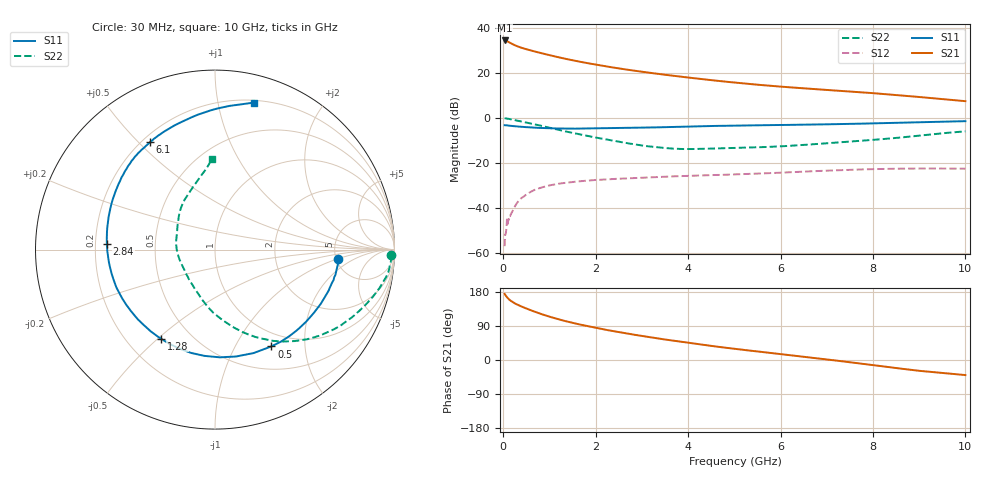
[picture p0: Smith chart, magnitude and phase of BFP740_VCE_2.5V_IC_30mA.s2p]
! Infineon Technologies  Discrete & RF Semiconductors
! BFP740
! VCE =  2.5 V,  IC =  30 mA
! Common Emitter S-Parameters:  Jan 2016
# GHz  S  MA  R  50
!  f  S11  S21  S12  S22
! GHz  MAG  ANG  MAG  ANG  MAG  ANG  MAG  ANG
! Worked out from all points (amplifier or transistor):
!   229 points, 30 MHz to 10 GHz, reference 50 ohm
!   highest |S21| = 34.5 dB at 30 MHz (marker M1)
!   |S21| within 3 dB of that: start of sweep to 358.3 MHz
!   unconditionally stable (mu >= 1): 5.767 GHz to end of sweep
!   at 280 MHz: K = 0.29, MSG = 35.3 dB, |S12| = -38.4 dB
!   at 1.78 GHz: K = 0.51, MSG = 26.3 dB, |S12| = -28.0 dB
!   at 10 GHz: K = 1.00, MAG = 14.8 dB, |S12| = -22.6 dB
!   S11 on the Smith chart (normalised r, x): 30 MHz: 5.20, -1.07; 500 MHz: 0.80, -1.42; 1.28 GHz: 0.34, -0.51; 2.84 GHz: 0.25, +0.02; 6.1 GHz: 0.23, +0.54; 10 GHz: 0.22, +1.28
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0.03  0.6889 -4.5  53.06 174.3  0.0014 69.3  0.9806 -1.9
0.05  0.6891 -7.2  52.89 170.9  0.0026 96.7  0.9817 -4.1
0.09  0.6819 -13.0  50.7 164.5  0.0046 75.8  0.9696 -8.0
0.13  0.6736 -18.4  48.08 159.4  0.0066 81.0  0.951 -11.4
0.165  0.6675 -22.8  46 156.1  0.0071 76.8  0.9343 -14.1
0.22  0.6581 -29.4  43.06 151.6  0.0093 77.3  0.909 -17.9
0.3  0.6471 -38.5  39.58 146.3  0.0129 72.6  0.8748 -22.8
0.5  0.6241 -59.8  33.85 135.9  0.0198 63.8  0.7946 -34.2
0.7  0.6071 -78.8  29.8 126.5  0.0257 56.1  0.7164 -44.2
0.9  0.5951 -95.6  26.5 118.1  0.0297 49.2  0.6395 -53.2
1.1  0.5863 -109.9  23.64 110.7  0.033 44.1  0.5712 -61.0
1.28  0.5804 -121.2  21.44 104.7  0.0354 40.3  0.5181 -67.3
1.7  0.5801 -142.9  17.51 92.5  0.0394 33.7  0.4201 -80.0
2.26  0.5902 -164.9  13.86 78.8  0.043 27.8  0.3279 -95.9
2.84  0.6031 177.1  11.26 66.6  0.0459 23.9  0.2585 -112.4
3.4  0.6203 162.8  9.435 55.9  0.0487 20.5  0.2193 -131.8
4.2  0.6499 145.8  7.512 42.0  0.0521 16.7  0.2042 -161.5
5.1  0.68 132.0  6.002 28.2  0.0559 13.1  0.2174 173.7
6.1  0.7003 121.1  4.891 14.3  0.0612 9.9  0.2363 153.1
6.8  0.7163 113.2  4.34 4.4  0.0659 5.8  0.2634 140.8
8.4  0.7761 91.8  3.305 -19.7  0.0739 -5.8  0.3513 113.7
10  0.847 75.1  2.362 -39.8  0.0744 -15.9  0.5041 91.9
